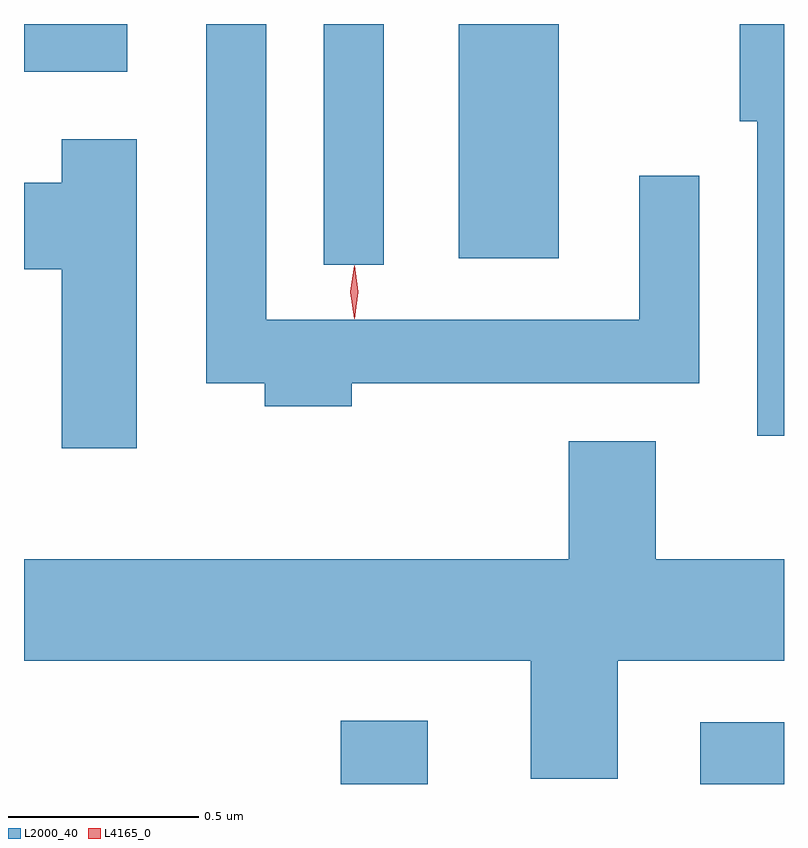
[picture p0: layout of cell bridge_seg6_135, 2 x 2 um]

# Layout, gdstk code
import gdstk
lib = gdstk.Library(unit=1e-6, precision=1e-09)
def R(c, l, rs):  # rectangles x0, y0, x1, y1
    for r in rs: c.add(gdstk.rectangle(r[:2], r[2:], *l))
def P(c, l, *ps):  # polygons
    for p in ps: c.add(gdstk.Polygon(p, *l))
L2000_40 = (2000, 40)
L4165_0 = (4165, 0)

bridge_seg6_135 = lib.new_cell('bridge_seg6_135')
R(bridge_seg6_135, L2000_40, [(1171.001,1627.412,1171.229,1627.579), (1171.946,1627.412,1172.167,1627.574), (1170.956,1628.778,1171.114,1629.412), (1171.311,1628.796,1171.574,1629.412), (1170.167,1629.286,1170.439,1629.412)])
P(bridge_seg6_135, L2000_40, [(1172.167,1629.412),(1172.051,1629.412),(1172.051,1629.156),(1172.096,1629.156),(1172.096,1628.328),(1172.167,1628.328)],
  [(1171.029,1628.466),(1171.944,1628.466),(1171.944,1629.013),(1171.786,1629.013),(1171.786,1628.634),(1170.804,1628.634),(1170.804,1629.412),(1170.646,1629.412),(1170.646,1628.466),(1170.801,1628.466),(1170.801,1628.406),(1171.029,1628.406)],
  [(1170.464,1629.109),(1170.266,1629.109),(1170.266,1628.994),(1170.167,1628.994),(1170.167,1628.766),(1170.266,1628.766),(1170.266,1628.296),(1170.464,1628.296)],
  [(1171.729,1627.736),(1172.167,1627.736),(1172.167,1628.004),(1171.829,1628.004),(1171.829,1628.314),(1171.601,1628.314),(1171.601,1628.004),(1170.167,1628.004),(1170.167,1627.736),(1171.501,1627.736),(1171.501,1627.426),(1171.729,1627.426)])
P(bridge_seg6_135, L4165_0, [(1171.036,1628.637),(1171.036,1628.637),(1171.026,1628.707),(1171.036,1628.776),(1171.036,1628.776),(1171.037,1628.776),(1171.046,1628.707),(1171.037,1628.637)],
  [(1171.036,1628.639),(1171.036,1628.64),(1171.026,1628.706),(1171.036,1628.772),(1171.036,1628.773),(1171.037,1628.772),(1171.046,1628.706),(1171.037,1628.64)])

lib.write_gds('bridge_seg6_135.gds')
